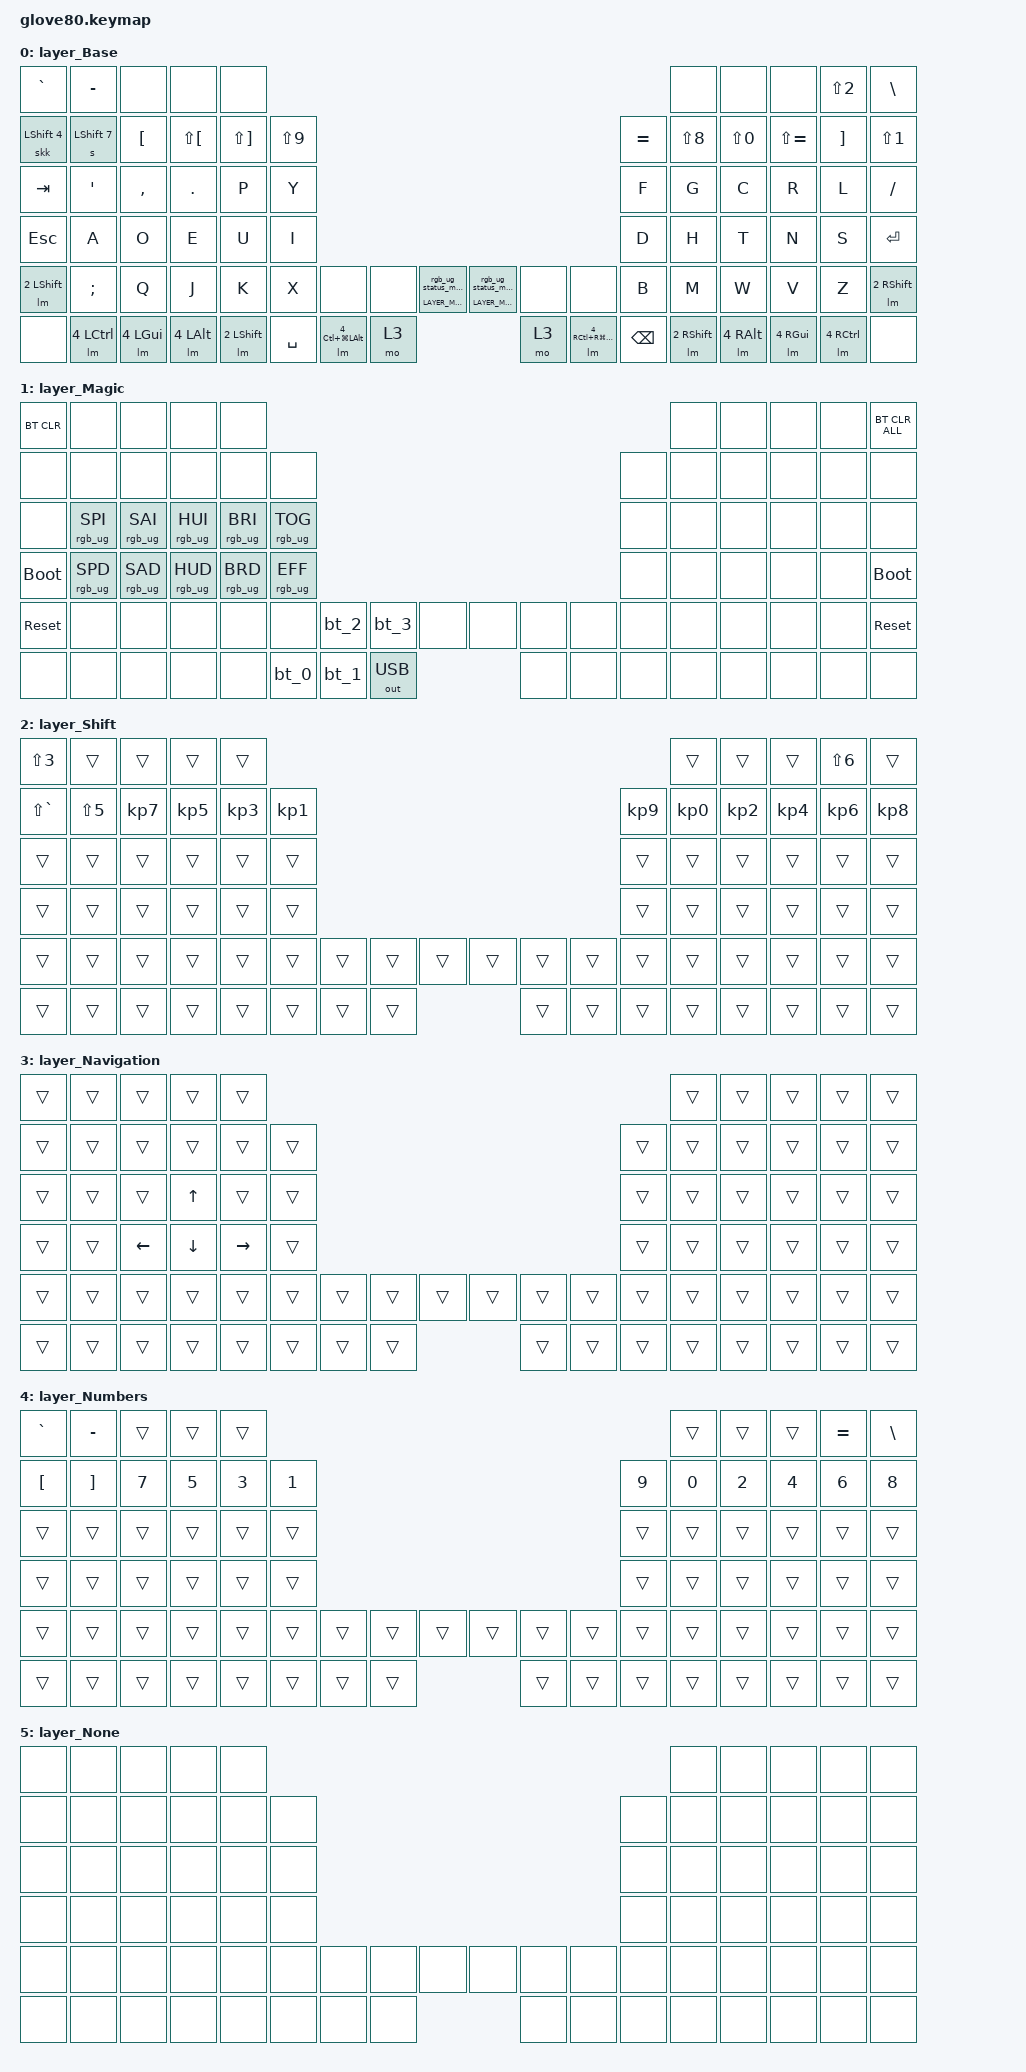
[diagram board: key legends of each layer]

/*
 * Copyright (c) 2020 The ZMK Contributors
 * Copyright (c) 2023 Innaworks Development Limited, trading as MoErgo
 *
 * SPDX-License-Identifier: MIT
 */


/* THIS FILE WAS GENERATED BY GLOVE80 LAYOUT EDITOR
 *
 * This file was generated automatically. You may or may not want to
 * edit it directly.
 */

#include <behaviors.dtsi>
/* Include all behavior includes needed */
#include <dt-bindings/zmk/outputs.h>
#include <dt-bindings/zmk/keys.h>
#include <dt-bindings/zmk/bt.h>
#include <dt-bindings/zmk/rgb.h>

/* Automatically generated layer name #define */
#define LAYER_Base 0
#define LAYER_Magic 1
#define LAYER_Shift 2
#define LAYER_Navigation 3
#define LAYER_Numbers 4
#define LAYER_None 5

/* To deal with the situation where there is no Lower layer, to keep &lower happy */
#ifndef LAYER_Lower
#define LAYER_Lower 0
#endif

/* Custom Device-tree */
&sk {
    quick-release;
};

/ {
    macros {
    s: s {
            label = "&S";
            compatible = "zmk,behavior-macro-two-param";
            #binding-cells = <2>;
            tap-ms = <0>;
            wait-ms = <0>;
            bindings
                = <&macro_press>
                , <&mo 5>
                , <&macro_tap>
                , <&macro_param_1to1>
                , <&sk N0>
                , <&macro_param_2to1>
                , <&kp B>
                , <&macro_release>
                , <&mo 5>;
        };
    };
};


/* Glove80 system behavior & macros */
/ {
    behaviors {
        // For the "layer" key, it'd nice to be able to use it as either a shift or a toggle.
        // Configure it as a tap dance, so the first tap (or hold) is a &mo and the second tap is a &to
        lower: lower {
            compatible = "zmk,behavior-tap-dance";
            label = "LAYER_TAP_DANCE";
            #binding-cells = <0>;
            tapping-term-ms = <200>;
            bindings = <&mo LAYER_Lower>, <&to LAYER_Lower>;
        };
    };
};

/ {
    macros {
        rgb_ug_status_macro: rgb_ug_status_macro {
            label = "RGB_UG_STATUS";
            compatible = "zmk,behavior-macro";
            #binding-cells = <0>;
            bindings
                = <&rgb_ug RGB_STATUS>;
        };
    };
};


/ {
#ifdef BT_DISC_CMD
    behaviors {
        bt_0: bt_0 {
            compatible = "zmk,behavior-tap-dance";
            label = "BT_0";
            #binding-cells = <0>;
            tapping-term-ms = <200>;
            bindings = <&bt_select_0>, <&bt BT_DISC 0>;
        };
        bt_1: bt_1 {
            compatible = "zmk,behavior-tap-dance";
            label = "BT_1";
            #binding-cells = <0>;
            tapping-term-ms = <200>;
            bindings = <&bt_select_1>, <&bt BT_DISC 1>;
        };
        bt_2: bt_2 {
            compatible = "zmk,behavior-tap-dance";
            label = "BT_2";
            #binding-cells = <0>;
            tapping-term-ms = <200>;
            bindings = <&bt_select_2>, <&bt BT_DISC 2>;
        };
        bt_3: bt_3 {
            compatible = "zmk,behavior-tap-dance";
            label = "BT_3";
            #binding-cells = <0>;
            tapping-term-ms = <200>;
            bindings = <&bt_select_3>, <&bt BT_DISC 3>;
        };
    };
    macros {
        bt_select_0: bt_select_0 {
            label = "BT_SELECT_0";
            compatible = "zmk,behavior-macro";
            #binding-cells = <0>;
            bindings
                = <&out OUT_BLE>,
                  <&bt BT_SEL 0>;
        };
        bt_select_1: bt_select_1 {
            label = "BT_SELECT_1";
            compatible = "zmk,behavior-macro";
            #binding-cells = <0>;
            bindings
                = <&out OUT_BLE>,
                  <&bt BT_SEL 1>;
        };
        bt_select_2: bt_select_2 {
            label = "BT_SELECT_2";
            compatible = "zmk,behavior-macro";
            #binding-cells = <0>;
            bindings
                = <&out OUT_BLE>,
                  <&bt BT_SEL 2>;
        };
        bt_select_3: bt_select_3 {
            label = "BT_SELECT_3";
            compatible = "zmk,behavior-macro";
            #binding-cells = <0>;
            bindings
                = <&out OUT_BLE>,
                  <&bt BT_SEL 3>;
        };
    };
#else
    macros {
        bt_0: bt_0 {
            label = "BT_0";
            compatible = "zmk,behavior-macro";
            #binding-cells = <0>;
            bindings
                = <&out OUT_BLE>,
                  <&bt BT_SEL 0>;
        };
        bt_1: bt_1 {
            label = "BT_1";
            compatible = "zmk,behavior-macro";
            #binding-cells = <0>;
            bindings
                = <&out OUT_BLE>,
                  <&bt BT_SEL 1>;
        };
        bt_2: bt_2 {
            label = "BT_2";
            compatible = "zmk,behavior-macro";
            #binding-cells = <0>;
            bindings
                = <&out OUT_BLE>,
                  <&bt BT_SEL 2>;
        };
        bt_3: bt_3 {
            label = "BT_3";
            compatible = "zmk,behavior-macro";
            #binding-cells = <0>;
            bindings
                = <&out OUT_BLE>,
                  <&bt BT_SEL 3>;
        };
    };
#endif
};

/ {
    behaviors {
        magic: magic {
            compatible = "zmk,behavior-hold-tap";
            label = "MAGIC_HOLD_TAP";
            #binding-cells = <2>;
            flavor = "tap-preferred";
            tapping-term-ms = <200>;
            bindings = <&mo>, <&rgb_ug_status_macro>;
        };
    };
};

/* #define for key positions */
#define POS_LH_T1 52
#define POS_LH_T2 53
#define POS_LH_T3 54
#define POS_LH_T4 69
#define POS_LH_T5 70
#define POS_LH_T6 71
#define POS_LH_C1R2 15
#define POS_LH_C1R3 27
#define POS_LH_C1R4 39
#define POS_LH_C1R5 51
#define POS_LH_C2R1 4
#define POS_LH_C2R2 14
#define POS_LH_C2R3 26
#define POS_LH_C2R4 38
#define POS_LH_C2R5 50
#define POS_LH_C2R6 68
#define POS_LH_C3R1 3
#define POS_LH_C3R2 13
#define POS_LH_C3R3 25
#define POS_LH_C3R4 37
#define POS_LH_C3R5 49
#define POS_LH_C3R6 67
#define POS_LH_C4R1 2
#define POS_LH_C4R2 12
#define POS_LH_C4R3 24
#define POS_LH_C4R4 36
#define POS_LH_C4R5 48
#define POS_LH_C4R6 66
#define POS_LH_C5R1 1
#define POS_LH_C5R2 11
#define POS_LH_C5R3 23
#define POS_LH_C5R4 35
#define POS_LH_C5R5 47
#define POS_LH_C5R6 65
#define POS_LH_C6R1 0
#define POS_LH_C6R2 10
#define POS_LH_C6R3 22
#define POS_LH_C6R4 34
#define POS_LH_C6R5 46
#define POS_LH_C6R6 64
#define POS_RH_T1 57
#define POS_RH_T2 56
#define POS_RH_T3 55
#define POS_RH_T4 74
#define POS_RH_T5 73
#define POS_RH_T6 72
#define POS_RH_C1R2 16
#define POS_RH_C1R3 28
#define POS_RH_C1R4 40
#define POS_RH_C1R5 58
#define POS_RH_C2R1 5
#define POS_RH_C2R2 17
#define POS_RH_C2R3 29
#define POS_RH_C2R4 41
#define POS_RH_C2R5 59
#define POS_RH_C2R6 75
#define POS_RH_C3R1 6
#define POS_RH_C3R2 18
#define POS_RH_C3R3 30
#define POS_RH_C3R4 42
#define POS_RH_C3R5 60
#define POS_RH_C3R6 76
#define POS_RH_C4R1 7
#define POS_RH_C4R2 19
#define POS_RH_C4R3 31
#define POS_RH_C4R4 43
#define POS_RH_C4R5 61
#define POS_RH_C4R6 77
#define POS_RH_C5R1 8
#define POS_RH_C5R2 20
#define POS_RH_C5R3 32
#define POS_RH_C5R4 44
#define POS_RH_C5R5 62
#define POS_RH_C5R6 78
#define POS_RH_C6R1 9
#define POS_RH_C6R2 21
#define POS_RH_C6R3 33
#define POS_RH_C6R4 45
#define POS_RH_C6R5 63
#define POS_RH_C6R6 79

/* Custom Defined Behaviors */
/ {

};

/* Automatically generated macro definitions */
/ {
    macros {
        lm: lm {
            label = "&LM";
            compatible = "zmk,behavior-macro-two-param";
            #binding-cells = <2>;


            bindings
                = <&macro_press>
                , <&macro_param_1to1>
                , <&mo 2>
                , <&macro_press>
                , <&macro_param_2to1>
                , <&kp B>
                , <&macro_pause_for_release>
                , <&macro_release>
                , <&macro_param_2to1>
                , <&kp A>
                , <&macro_release>
                , <&macro_param_1to1>
                , <&mo 2>;
        };
    skk: skk {
            label = "&SKK";
            compatible = "zmk,behavior-macro-two-param";
            #binding-cells = <2>;
            tap-ms = <0>;
            wait-ms = <0>;
            bindings
                = <&macro_press>
                , <&mo 5>
                , <&macro_tap>
                , <&macro_param_1to1>
                , <&sk N0>
                , <&macro_param_2to1>
                , <&kp B>
                , <&macro_release>
                , <&mo 5>;
        };
    };
};

/* Automatically generated combos definitions */
/ {
    combos {
            compatible = "zmk,combos";
    };
};

/* Automatically generated keymap */
/ {
    keymap {
        compatible = "zmk,keymap";


        layer_Base {
            bindings = <
     &kp GRAVE    &kp MINUS       &none         &none         &none                                                                                                                                        &none       &none          &none   &kp LS(N2)     &kp BSLH
 &skk LSHFT N4   &s LSHFT 7    &kp LBKT  &kp LS(LBKT)  &kp LS(RBKT)  &kp LS(N9)                                                                                                           &kp EQUAL   &kp LS(N8)  &kp LS(N0)  &kp LS(EQUAL)     &kp RBKT   &kp LS(N1)
       &kp TAB      &kp SQT   &kp COMMA       &kp DOT         &kp P       &kp Y                                                                                                               &kp F        &kp G       &kp C          &kp R        &kp L    &kp SLASH
       &kp ESC        &kp A       &kp O         &kp E         &kp U       &kp I                                                                                                               &kp D        &kp H       &kp T          &kp N        &kp S      &kp RET
   &lm 2 LSHFT     &kp SEMI       &kp Q         &kp J         &kp K       &kp X      &none               &none  &magic LAYER_Magic 0  &magic LAYER_Magic 0               &none     &none      &kp B        &kp M       &kp W          &kp V        &kp Z  &lm 2 RSHFT
         &none  &lm 4 LCTRL  &lm 4 LGUI    &lm 4 LALT   &lm 2 LSHFT              &kp SPACE  &lm 4 LC(LG(LALT))                 &mo 3                 &mo 3  &lm 4 RC(RG(RALT))  &kp BSPC             &lm 2 RSHFT  &lm 4 RALT     &lm 4 RGUI  &lm 4 RCTRL        &none
            >;
        };

        layer_Magic {
            bindings = <
  &bt BT_CLR            &none            &none            &none            &none                                                                                  &none   &none   &none   &none  &bt BT_CLR_ALL
       &none            &none            &none            &none            &none            &none                                                         &none   &none   &none   &none   &none           &none
       &none  &rgb_ug RGB_SPI  &rgb_ug RGB_SAI  &rgb_ug RGB_HUI  &rgb_ug RGB_BRI  &rgb_ug RGB_TOG                                                         &none   &none   &none   &none   &none           &none
 &bootloader  &rgb_ug RGB_SPD  &rgb_ug RGB_SAD  &rgb_ug RGB_HUD  &rgb_ug RGB_BRD  &rgb_ug RGB_EFF                                                         &none   &none   &none   &none   &none     &bootloader
  &sys_reset            &none            &none            &none            &none            &none   &bt_2   &bt_3         &none   &none   &none   &none   &none   &none   &none   &none   &none      &sys_reset
       &none            &none            &none            &none            &none                    &bt_0   &bt_1  &out OUT_USB   &none   &none   &none           &none   &none   &none   &none           &none
            >;
        };

        layer_Shift {
            bindings = <
    &kp LS(N3)      &trans     &trans     &trans     &trans                                                                           &trans     &trans     &trans  &kp LS(N6)     &trans
 &kp LS(GRAVE)  &kp LS(N5)  &kp KP_N7  &kp KP_N5  &kp KP_N3  &kp KP_N1                                                  &kp KP_N9  &kp KP_N0  &kp KP_N2  &kp KP_N4   &kp KP_N6  &kp KP_N8
        &trans      &trans     &trans     &trans     &trans     &trans                                                     &trans     &trans     &trans     &trans      &trans     &trans
        &trans      &trans     &trans     &trans     &trans     &trans                                                     &trans     &trans     &trans     &trans      &trans     &trans
        &trans      &trans     &trans     &trans     &trans     &trans  &trans  &trans  &trans  &trans  &trans  &trans     &trans     &trans     &trans     &trans      &trans     &trans
        &trans      &trans     &trans     &trans     &trans             &trans  &trans  &trans  &trans  &trans  &trans                &trans     &trans     &trans      &trans     &trans
            >;
        };

        layer_Navigation {
            bindings = <
 &trans  &trans          &trans          &trans           &trans                                                                  &trans  &trans  &trans  &trans  &trans
 &trans  &trans          &trans          &trans           &trans  &trans                                                  &trans  &trans  &trans  &trans  &trans  &trans
 &trans  &trans          &trans    &kp UP_ARROW           &trans  &trans                                                  &trans  &trans  &trans  &trans  &trans  &trans
 &trans  &trans  &kp LEFT_ARROW  &kp DOWN_ARROW  &kp RIGHT_ARROW  &trans                                                  &trans  &trans  &trans  &trans  &trans  &trans
 &trans  &trans          &trans          &trans           &trans  &trans  &trans  &trans  &trans  &trans  &trans  &trans  &trans  &trans  &trans  &trans  &trans  &trans
 &trans  &trans          &trans          &trans           &trans          &trans  &trans  &trans  &trans  &trans  &trans          &trans  &trans  &trans  &trans  &trans
            >;
        };

        layer_Numbers {
            bindings = <
 &kp GRAVE  &kp MINUS  &trans  &trans  &trans                                                                  &trans  &trans  &trans  &kp EQUAL  &kp BSLH
  &kp LBKT   &kp RBKT  &kp N7  &kp N5  &kp N3  &kp N1                                                  &kp N9  &kp N0  &kp N2  &kp N4     &kp N6    &kp N8
    &trans     &trans  &trans  &trans  &trans  &trans                                                  &trans  &trans  &trans  &trans     &trans    &trans
    &trans     &trans  &trans  &trans  &trans  &trans                                                  &trans  &trans  &trans  &trans     &trans    &trans
    &trans     &trans  &trans  &trans  &trans  &trans  &trans  &trans  &trans  &trans  &trans  &trans  &trans  &trans  &trans  &trans     &trans    &trans
    &trans     &trans  &trans  &trans  &trans          &trans  &trans  &trans  &trans  &trans  &trans          &trans  &trans  &trans     &trans    &trans
            >;
        };

        layer_None {
            bindings = <
  &none   &none   &none   &none   &none                                                                   &none   &none   &none   &none   &none
  &none   &none   &none   &none   &none   &none                                                   &none   &none   &none   &none   &none   &none
  &none   &none   &none   &none   &none   &none                                                   &none   &none   &none   &none   &none   &none
  &none   &none   &none   &none   &none   &none                                                   &none   &none   &none   &none   &none   &none
  &none   &none   &none   &none   &none   &none   &none   &none   &none   &none   &none   &none   &none   &none   &none   &none   &none   &none
  &none   &none   &none   &none   &none           &none   &none   &none   &none   &none   &none           &none   &none   &none   &none   &none
            >;
        };

    };
};
